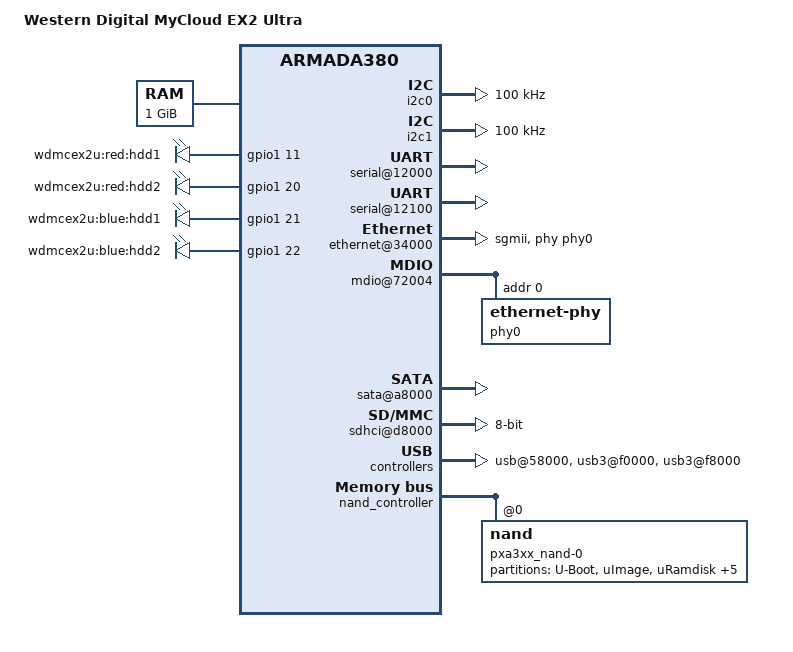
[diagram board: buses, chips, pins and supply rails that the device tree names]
/*
 * Device Tree file for Marvell Armada 385 evaluation board
 * (DB-88F6820)
 *
 *  Copyright (C) 2013 Marvell
 *
 * Thomas Petazzoni <thomas.petazzoni@free-electrons.com>
 *
 * This file is licensed under the terms of the GNU General Public
 * License version 2.  This program is licensed "as is" without any
 * warranty of any kind, whether express or implied.
 */

/dts-v1/;
#include <dt-bindings/gpio/gpio.h>
#include "armada-385.dtsi"

/ {
	model = "Western Digital MyCloud EX2 Ultra";
	compatible = "marvell,armada385", "marvell,armada38x", "marvell,armada380";

	chosen {
		bootargs = "console=ttyS0,115200 root=LABEL=rootfs ro earlyprintk";
	};

	memory {
		device_type = "memory";
		reg = <0x00000000 0x40000000>; /* 1024 MB */
	};

	soc {
		ranges = <MBUS_ID(0xf0, 0x01) 0 0xf1000000 0x100000
			  MBUS_ID(0x01, 0x1d) 0 0xfff00000 0x100000
			  MBUS_ID(0x09, 0x19) 0 0xf1100000 0x10000
			  MBUS_ID(0x09, 0x15) 0 0xf1110000 0x10000
			  MBUS_ID(0x0c, 0x04) 0 0xf1200000 0x100000>;

		internal-regs {
			timer@c200 {
				status = "okay";
			};

			i2c0: i2c@11000 {
				status = "okay";
				clock-frequency = <100000>;
			};

			i2c1: i2c@11100 {
				status = "okay";
				clock-frequency = <100000>;
			};

			serial@12000 {
				status = "okay";
			};

			/* ttyS1 is connected to w Welltrend 6703F-OG240WT Micocontroller
			 * which controls power fan and other things */
			serial@12100 {
				status = "okay";
			};

			ethernet@34000 {
				status = "okay";
				phy = <&phy0>;
				phy-mode = "sgmii";
				buffer-manager = <&bm>;
				bm,pool-long = <2>;
				bm,pool-short = <3>;
			};
						
			mdio@72004 {
				phy0: ethernet-phy@0 {
					reg = <0>;
				};

			};
			
			sata@a8000 {
				status = "okay";
			};
			
			sdhci@d8000 {
				broken-cd;
				wp-inverted;
				bus-width = <8>;
				status = "okay";
				no-1-8-v;
			};

			poweroff@12100 {
				compatible = "wdmcex2u,power-off";
				reg = <0x12100 0x100>;
				clocks = <&coreclk 0>;
				status = "okay";
			};

			usb@58000 {
				status = "okay";
			};
	
			usb3@f0000 {
				status = "okay";
			};
			
			usb3@f8000 {
				status = "okay";
			};

			bm@c8000 {
				status = "okay";
			};

			crypto@9D000 {
				status = "okay";
			};
		};

		bm-bppi {
			status = "okay";
		};

		pcie-controller {
			status = "disabled";
			/*
			 * The two PCIe units are accessible through
			 * standard PCIe slots on the board.
			 */
			pcie@1,0 {
				/* Port 0, Lane 0 */
				status = "disabled";
			};
			pcie@2,0 {
				/* Port 1, Lane 0 */
				status = "disabled";
			};
		};

								
	};

	gpio-leds {
		compatible = "gpio-leds";
		pinctrl-0 = <&sata_leds>;
		pinctrl-names = "default";

		red-sata1-led {
			label = "wdmcex2u:red:hdd1";
			gpios = <&gpio1 11 GPIO_ACTIVE_HIGH>;
		};
		red-sata2-led {
			label = "wdmcex2u:red:hdd2";
			gpios = <&gpio1 20 GPIO_ACTIVE_HIGH>;
		};
		blue-sata1-led {
			label = "wdmcex2u:blue:hdd1";
			gpios = <&gpio1 21 GPIO_ACTIVE_HIGH>;
		};
		blue-sata2-led {
			label = "wdmcex2u:blue:hdd2";
			gpios = <&gpio1 22 GPIO_ACTIVE_HIGH>;
		};
	};

};

&spi0 {
	status = "disabled";

	spi-flash@0 {
		#address-cells = <1>;
		compatible = "w25q32";
		reg = <0>; /* Chip select 0 */
		spi-max-frequency = <108000000>;
	};
};

&nand_controller {
	/* 128MiB or 256MiB */
	status = "okay";

	nand: nand@0 {
		reg = <0>;
		label = "pxa3xx_nand-0";
		nand-rb = <0>;
		marvell,nand-keep-config;
		marvell,nand-enable-arbiter;
		nand-on-flash-bbt;
		nand-ecc-strength = <4>;
		nand-ecc-step-size = <512>;

		partitions {
			compatible = "fixed-partitions";
			#address-cells = <1>;
			#size-cells = <1>;

			partition@00000000 {
				label = "U-Boot";
				reg = <0x00000000 0x00500000>;
				read-only;
			};

			partition@00500000 {
				label = "uImage";
				reg = <0x00500000 0x00500000>;
			};

			partition@00a00000 {
				label = "uRamdisk";
				reg = <0x00a00000 0x00500000>; //BLUE_ADD for Alpha 256MBNAND
			};
				
			partition@00f00000 {
				label = "image.cfs";
				reg = <0x00f00000 0x0b900000>;
			};

			partition@c800000 {
				label = "rescue fw";
				reg = <0x0c800000 0x00f00000>;
			};
				
			partition@d70000 {
				label = "config";
				reg = <0x0d700000 0x01400000>; 
			};
				
			partition@eb00000 {
				label = "reserve1";
				reg = <0x0eb00000 0x00a00000>;
			};
				
			partition@f500000 {
				label = "reserve2";
				reg = <0x0f500000 0x00a00000>;
			};
		};
	};
};

&pinctrl {
	sata_leds: sata-leds {
		marvell,pins = "mpp43", "mpp52", "mpp53", "mpp54";
		marvell,function = "gpio";
	};
};

